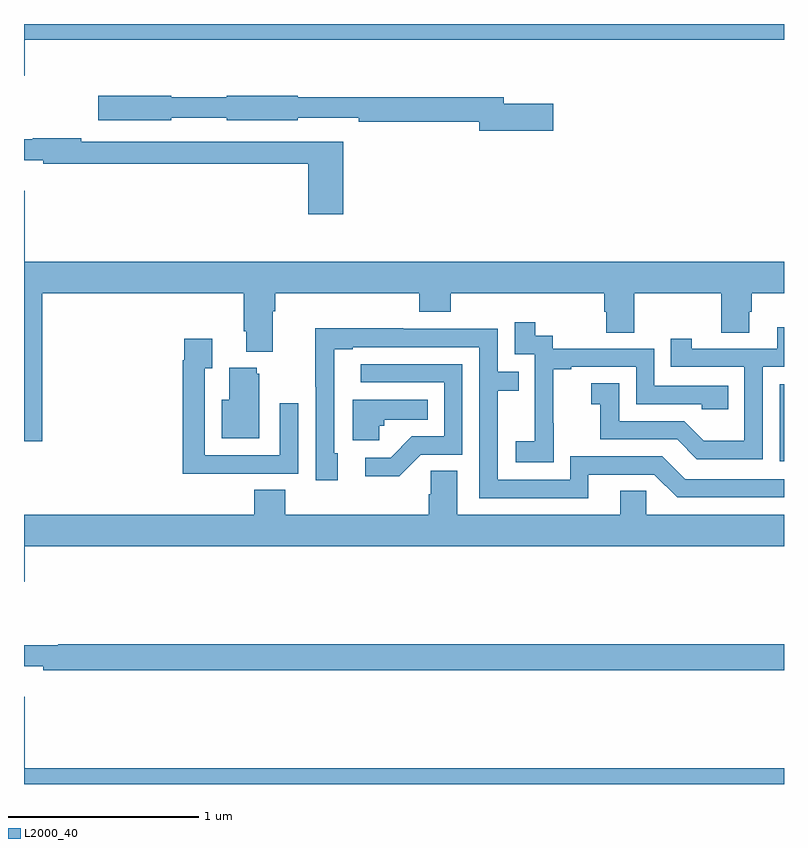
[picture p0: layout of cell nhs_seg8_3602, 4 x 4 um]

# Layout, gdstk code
import gdstk
lib = gdstk.Library(unit=1e-6, precision=1e-09)
def R(c, l, rs):  # rectangles x0, y0, x1, y1
    for r in rs: c.add(gdstk.rectangle(r[:2], r[2:], *l))
def P(c, l, *ps):  # polygons
    for p in ps: c.add(gdstk.Polygon(p, *l))
L2000_40 = (2000, 40)

nhs_seg8_3602 = lib.new_cell('nhs_seg8_3602')
R(nhs_seg8_3602, L2000_40, [(336.978,1131.6,337,1132.005)])
P(nhs_seg8_3602, L2000_40, [(333.004,1133.816),(337,1133.816),(337,1133.9),(333,1133.9),(333,1133.628),(333.004,1133.628)],
  [(335.785,1133.481),(335.524,1133.481),(335.524,1133.515),(334.44,1133.515),(334.44,1133.523),(334.068,1133.523),(334.068,1133.515),(333.774,1133.515),(333.774,1133.523),(333.39,1133.523),(333.39,1133.393),(333.774,1133.393),(333.774,1133.406),(334.068,1133.406),(334.068,1133.393),(334.44,1133.393),(334.44,1133.406),(334.762,1133.406),(334.762,1133.386),(335.396,1133.386),(335.396,1133.339),(335.785,1133.339)],
  [(334.679,1133.28),(333.302,1133.28),(333.302,1133.3),(333.046,1133.3),(333.046,1133.293),(333,1133.293),(333,1133.183),(333.1,1133.183),(333.1,1133.164),(334.496,1133.164),(334.496,1132.899),(334.679,1132.899)],
  [(333.095,1132.484),(334.157,1132.484),(334.157,1132.282),(334.169,1132.282),(334.169,1132.175),(334.309,1132.175),(334.309,1132.388),(334.322,1132.388),(334.322,1132.484),(335.081,1132.484),(335.081,1132.385),(335.246,1132.385),(335.246,1132.484),(336.053,1132.484),(336.053,1132.386),(336.065,1132.386),(336.065,1132.276),(336.213,1132.276),(336.213,1132.484),(336.67,1132.484),(336.67,1132.276),(336.817,1132.276),(336.817,1132.386),(336.83,1132.386),(336.83,1132.484),(337,1132.484),(337,1132.648),(333.004,1132.648),(333.004,1133.023),(333,1133.023),(333,1131.705),(333.095,1131.705)],
  [(335.787,1131.799),(335.786,1131.799),(335.786,1132.083),(335.881,1132.083),(335.881,1132.095),(336.222,1132.095),(336.222,1131.9),(336.567,1131.9),(336.567,1131.873),(336.707,1131.873),(336.707,1131.996),(336.318,1131.996),(336.318,1132.191),(335.784,1132.191),(335.784,1132.26),(335.692,1132.26),(335.692,1132.33),(335.583,1132.33),(335.583,1132.161),(335.688,1132.161),(335.688,1131.932),(335.687,1131.932),(335.687,1131.703),(335.589,1131.703),(335.589,1131.593),(335.787,1131.593)],
  [(336.888,1132.095),(337,1132.095),(337,1132.303),(336.965,1132.303),(336.965,1132.191),(336.514,1132.191),(336.514,1132.243),(336.403,1132.243),(336.403,1132.095),(336.792,1132.095),(336.792,1131.706),(336.578,1131.706),(336.474,1131.81),(336.132,1131.81),(336.132,1132.009),(335.985,1132.009),(335.985,1131.899),(336.034,1131.899),(336.034,1131.714),(336.437,1131.714),(336.542,1131.609),(336.888,1131.609)],
  [(335.971,1131.528),(336.318,1131.528),(336.438,1131.408),(337,1131.408),(337,1131.504),(336.48,1131.504),(336.36,1131.624),(335.874,1131.624),(335.874,1131.501),(335.493,1131.501),(335.493,1131.97),(335.603,1131.97),(335.603,1132.071),(335.493,1132.071),(335.493,1132.296),(334.997,1132.296),(334.997,1132.298),(334.534,1132.298),(334.534,1131.991),(334.536,1131.991),(334.536,1131.498),(334.651,1131.498),(334.651,1131.642),(334.632,1131.642),(334.632,1132.188),(334.729,1132.188),(334.729,1132.2),(335.397,1132.2),(335.397,1131.405),(335.971,1131.405)],
  [(334.127,1131.534),(334.443,1131.534),(334.443,1131.904),(334.347,1131.904),(334.347,1131.63),(333.951,1131.63),(333.951,1132.087),(333.991,1132.087),(333.991,1132.243),(333.843,1132.243),(333.843,1132.13),(333.835,1132.13),(333.835,1131.533),(334.127,1131.533)],
  [(335.088,1131.633),(335.307,1131.633),(335.307,1132.11),(334.773,1132.11),(334.773,1132.014),(335.211,1132.014),(335.211,1131.729),(335.042,1131.729),(334.931,1131.618),(334.797,1131.618),(334.797,1131.521),(334.975,1131.521)],
  [(334.237,1132.059),(334.226,1132.059),(334.226,1132.09),(334.079,1132.09),(334.079,1131.922),(334.04,1131.922),(334.04,1131.719),(334.237,1131.719)],
  [(334.869,1131.786),(334.896,1131.786),(334.896,1131.818),(335.126,1131.818),(335.126,1131.922),(334.73,1131.922),(334.73,1131.71),(334.869,1131.71)],
  [(333.004,1131.152),(337,1131.152),(337,1131.316),(336.276,1131.316),(336.276,1131.443),(336.137,1131.443),(336.137,1131.316),(335.281,1131.316),(335.281,1131.548),(335.142,1131.548),(335.142,1131.425),(335.129,1131.425),(335.129,1131.316),(334.376,1131.316),(334.376,1131.449),(334.211,1131.449),(334.211,1131.316),(333,1131.316),(333,1130.964),(333.004,1130.964)],
  [(337,1130.636),(333.179,1130.636),(333.179,1130.629),(333,1130.629),(333,1130.519),(333.1,1130.519),(333.1,1130.5),(337,1130.5)],
  [(337,1129.984),(333.004,1129.984),(333.004,1130.359),(333,1130.359),(333,1129.9),(337,1129.9)])

lib.write_gds('nhs_seg8_3602.gds')
